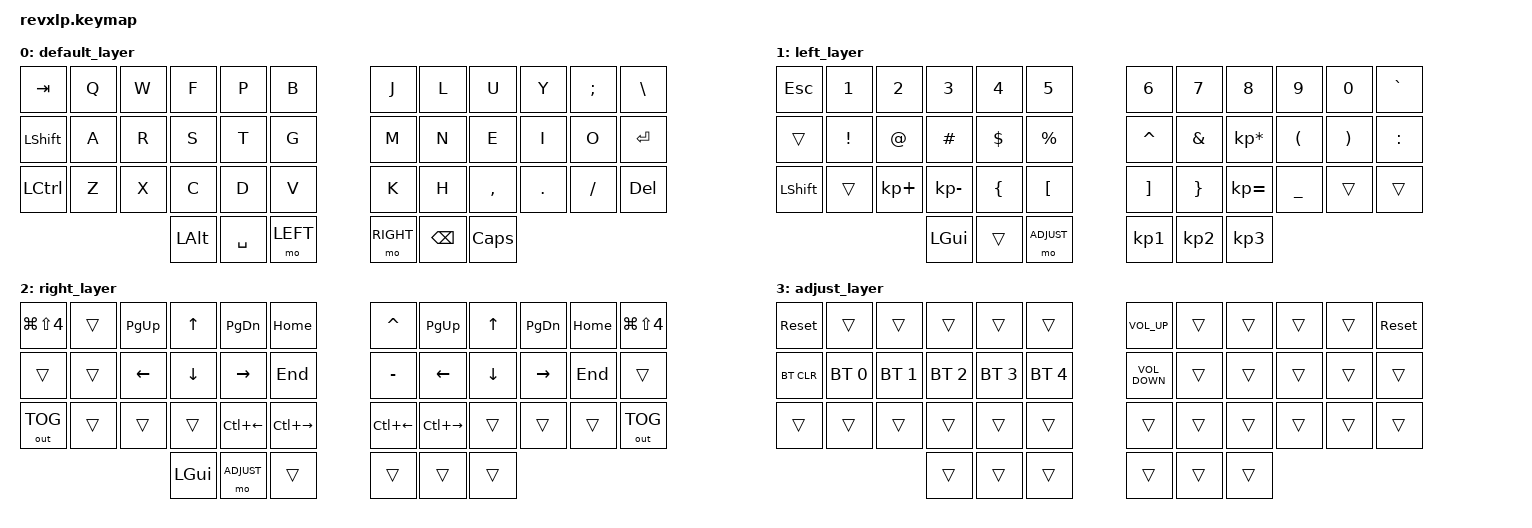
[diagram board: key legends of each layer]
/*
 * Copyright (c) 2020 The ZMK Contributors
 *
 * SPDX-License-Identifier: MIT
 * To use home rows - &hm LSHFT F
 */

#include <behaviors.dtsi>
#include <dt-bindings/zmk/keys.h>
#include <dt-bindings/zmk/bt.h>
#include <dt-bindings/zmk/outputs.h>

#define COLEMAK 0
#define LEFT 1
#define RIGHT 2
#define ADJUST 3

/ {

    behaviors {        
        hm: homerow_mods {
        compatible = "zmk,behavior-hold-tap";
        label = "HOMEROW_MODS";
        #binding-cells = <2>;
        tapping-term-ms = <150>;
        quick_tap_ms = <0>;
        flavor = "tap-preferred";
        bindings = <&kp>, <&kp>;
        };
    };

        keymap {
                compatible = "zmk,keymap";

                default_layer {
// .--------------------------------------------------------------.       .--------------------------------------------------------------.
// |   TAB        |    Q    |    W   |   F    |    P    |    B    |       |    J     |    L    |    U    |    Y    |     ;    |    \     |
// |--------------+---------+--------+--------+---------+---------|       |----------+---------+---------+---------+----------+----------|
// |   SHIFT      |    A    |    R   |   S    |    T    |    G    |       |    M     |    N    |    E    |    I    |     O    |  ENTER   |
// |--------------+---------+--------+--------+---------+---------|       |----------+---------+---------+---------+----------+----------|
// |   LCTRL      |    Z    |    X   |   C    |    D    |    V    |       |    K     |    H    |    ,    |    .    |     /    |   DEL    |
// '---------------------------------+--------+---------+---------+       |----------+---------+---------+-------------------------------'
//                                   |  LALT  |  SPACE  | MO LEFT |       | MO RIGHT |   BKSP  |  CAPS   |
//                                   '--------+---------+---------'       '----------+---------+---------'
                        bindings = <
   &kp TAB        &kp Q       &kp W         &kp F       &kp P           &kp B          &kp J       &kp L      &kp U        &kp Y     &kp SEMI      &kp BACKSLASH
   &kp LSHIFT     &kp A       &kp R         &kp S       &kp T           &kp G          &kp M       &kp N      &kp E        &kp I     &kp O         &kp ENTER
   &kp LCTRL      &kp Z       &kp X         &kp C       &kp D           &kp V          &kp K       &kp H      &kp COMMA    &kp DOT   &kp FSLH      &kp DEL
                              &kp LALT      &kp SPACE   &mo LEFT        &mo RIGHT      &kp BSPC    &kp CAPSLOCK
                        >;
                };
                
                left_layer {
// .--------------------------------------------------------------.       .-----------------------------------------------------------.
// |   ESC        |    1    |    2   |   3    |    4    |    5    |       |   6   |    7    |    8    |    9    |     0    |    `     |
// |--------------+---------+--------+--------+---------+---------|       |-------+---------+---------+---------+----------+----------|
// |              |    !    |    @   |   #    |    $    |    %    |       |   ^   |    &    |    *    |    (    |     )    |     :    |
// |--------------+---------+--------+--------+---------+---------|       |-------+---------+---------+---------+----------+----------|
// |   SHFT       |         |    +   |   -    |    {    |    [    |       |   ]   |    }    |    =    |    _    |          |          |
// '---------------------------------+--------+---------+---------+       |-------+---------+---------+-------------------------------'
//                                   |  GUI   |         |   MO3   |       |   ,   |    .    |   ?     |
//                                   '--------+---------+---------'       '-------+---------+---------'
                        bindings = <
   &kp ESC    &kp N1       &kp N2            &kp N3             &kp N4               &kp N5            &kp N6                   &kp N7                     &kp N8                 &kp N9                   &kp N0     &kp GRAVE
   &trans     &kp EXCL     &kp AT            &kp HASH           &kp DLLR             &kp PRCNT         &kp CARET                &kp AMPS                   &kp KP_MULTIPLY        &kp LPAR                 &kp RPAR   &kp COLON
   &kp LSHFT  &trans       &kp KP_PLUS       &kp KP_MINUS       &kp LEFT_BRACE       &kp LEFT_BRACKET  &kp RIGHT_BRACKET        &kp RIGHT_BRACE            &kp KP_EQUAL           &kp UNDERSCORE           &trans     &trans
                                             &kp LGUI           &trans               &mo ADJUST        &kp KP_N1                &kp KP_N2                  &kp KP_N3
                        >;
                };
                
                right_layer {
// .----------------------------------------------------------------.       .-----------------------------------------------------------------.
// |   CMD+SHIFT+4  |       |   PU   |   UP   |    PD    |   HOME   |       |  HOME   |    PU    |    UP   |   PD    |          | CMD+SHIFT+4 |
// |----------------+-------+--------+--------+----------+----------|       |---------+----------+---------+---------+----------+-------------|
// |                |       |  LEFT  |  DOWN  |   RIGHT  |   END    |       |  END    |   LEFT   |   DOWN  |  RIGHT  |          |             |
// |----------------+-------+--------+--------+----------+----------|       |---------+----------+---------+---------+----------+-------------|
// |     OUT_TOG    |       |        |        |CTRL+LEFT |CTRL+RIGHT|       |CTRL+LEFT|CTRL+RIGHT|         |         |          |   OUT_TOG   |
// '---------------------------------+--------+----------+----------+       |---------+----------+---------+----------------------------------'
//                                   |  GUI   |   MO3    |          |       |         |          |         |
//                                   '--------+----------+----------'       '---------+----------+---------'

                        bindings = <
   &kp LG(LS(N4))  &trans     &kp PAGE_UP        &kp UP_ARROW      &kp PAGE_DOWN       &kp HOME                &kp CARET            &kp PAGE_UP             &kp UP_ARROW       &kp PAGE_DOWN      &kp HOME     &kp LG(LS(N4))
   &trans          &trans     &kp LEFT_ARROW     &kp DOWN_ARROW    &kp RIGHT_ARROW     &kp END                 &kp MINUS            &kp LEFT_ARROW          &kp DOWN_ARROW     &kp RIGHT_ARROW    &kp END      &trans
   &out OUT_TOG    &trans     &trans             &trans            &kp LC(LEFT_ARROW)  &kp LC(RIGHT_ARROW)     &kp LC(LEFT_ARROW)   &kp LC(RIGHT_ARROW)     &trans             &trans             &trans       &out OUT_TOG
                              &kp LGUI           &mo ADJUST        &trans              &trans   &trans   &trans
                        >;
                };

                adjust_layer {
// .--------------------------------------------------------.       .--------------------------------------------------------------.
// |         |        |        |        |         |         |       |  VOL+  |        |         |         |          |             |
// |---------+--------+--------+--------+---------+---------|       |--------+--------+---------+---------+----------+-------------|
// |  BTCLR  |  BT1   |  BT2   |  BT3   |  BT4    |  BT5    |       |  VOL-  |        |         |         |          |             |
// |---------+--------+--------+--------+---------+---------|       |--------+--------+---------+---------+----------+-------------|
// |         |        |        |        |         |         |       |        |        |         |         |          |             |
// '---------------------------+--------+---------+---------+       |--------+--------+---------+----------------------------------'
//                             |        |         |         |       |        |        |         |
//                             '--------+---------+---------'       '--------+--------+---------'

                        bindings = <
   &sys_reset      &trans          &trans         &trans          &trans          &trans            &kp C_VOLUME_UP    &trans &trans &trans &trans &sys_reset
   &bt BT_CLR  &bt BT_SEL 0    &bt BT_SEL 1   &bt BT_SEL 2    &bt BT_SEL 3    &bt BT_SEL 4      &kp C_VOLUME_DOWN  &trans &trans &trans &trans &trans
   &trans      &trans          &trans         &trans          &trans          &trans            &trans             &trans &trans &trans &trans &trans
                                   &trans &trans &trans   &trans &trans &trans
                        >;
                };
        };
};
